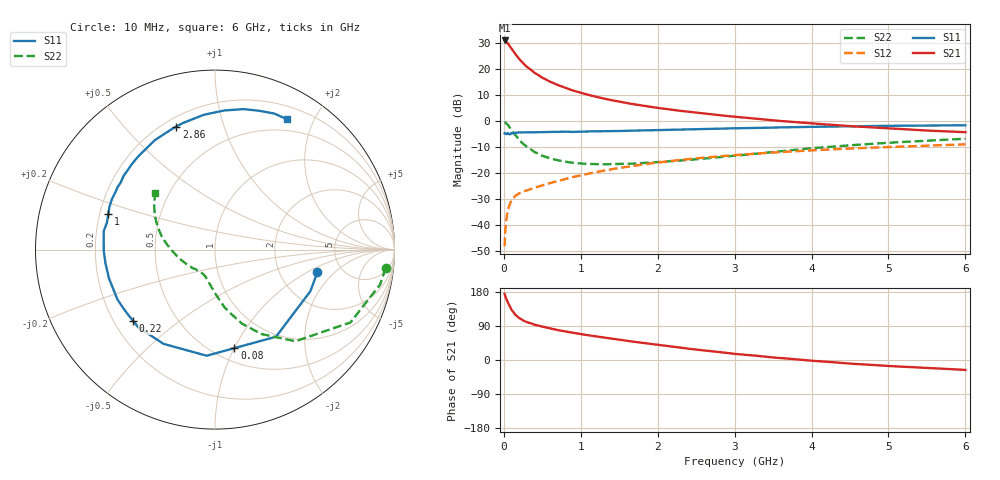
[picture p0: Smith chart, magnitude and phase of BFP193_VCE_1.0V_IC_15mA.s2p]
! Infineon Technologies  Discrete & RF Semiconductors
! BFP193
! VCE = 1.0 V,  IC =  15 mA
! Common Emitter S-Parameters:  Jan 2016
# GHz  S  MA  R  50
!  f  S11  S21  S12  S22
! GHz  MAG  ANG  MAG  ANG  MAG  ANG  MAG  ANG
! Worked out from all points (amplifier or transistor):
!   210 points, 10 MHz to 6 GHz, reference 50 ohm
!   highest |S21| = 30.9 dB at 10 MHz (marker M1)
!   |S21| within 3 dB of that: start of sweep to 97.24 MHz
!   unconditionally stable (mu >= 1): 813.3 MHz to 3.968 GHz
!   at 185 MHz: K = 0.43, MSG = 26.2 dB, |S12| = -28.0 dB
!   at 1.52 GHz: K = 1.10, MAG = 10.7 dB, |S12| = -17.9 dB
!   at 6 GHz: K = 0.96, MSG = 2.3 dB, |S12| = -8.9 dB
!   S11 on the Smith chart (normalised r, x): 10 MHz: 3.29, -1.26; 80 MHz: 0.63, -1.00; 220 MHz: 0.28, -0.35; 1 GHz: 0.24, +0.15; 2.86 GHz: 0.25, +0.70; 6 GHz: 0.35, +1.64
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0.01  0.5845 -12.4  35.16 174.5  0.004 85.5  0.9564 -6.2
0.02  0.5798 -23.6  33.93 167.5  0.0083 80.5  0.9401 -12.0
0.05  0.5926 -55.0  31.11 151.7  0.0192 68.4  0.8567 -28.3
0.08  0.5595 -78.9  26.82 141.0  0.026 58.9  0.7387 -39.4
0.1  0.5932 -94.5  24.62 132.0  0.0308 54.9  0.6797 -48.7
0.15  0.5984 -118.7  19.21 119.0  0.037 46.9  0.5378 -61.1
0.2  0.6085 -134.7  15.56 110.5  0.0413 44.3  0.4396 -69.9
0.22  0.6049 -139.0  14.45 108.3  0.0426 44.0  0.41 -72.2
0.26  0.6062 -147.1  12.46 103.5  0.0451 43.7  0.3578 -77.1
0.3  0.6104 -153.0  10.95 99.9  0.047 43.7  0.3217 -81.0
0.4  0.6121 -164.8  8.432 93.1  0.0527 45.1  0.2554 -88.3
0.5  0.6149 -172.9  6.797 87.8  0.0584 47.1  0.2165 -94.0
0.7  0.6228 175.0  4.926 78.7  0.0708 49.8  0.1774 -102.9
1  0.6259 161.7  3.484 68.4  0.0911 52.0  0.1534 -113.3
1.02  0.6274 160.9  3.423 67.8  0.0925 52.0  0.1529 -114.0
1.4  0.6448 147.4  2.516 56.5  0.1193 51.0  0.15 -125.2
2.02  0.6733 129.1  1.775 39.7  0.1619 46.4  0.164 -143.5
2.86  0.7186 107.5  1.271 19.6  0.2145 37.6  0.2074 -167.6
3.1  0.7307 102.4  1.172 14.5  0.2278 34.8  0.2236 -173.6
4.1  0.7801 84.6  0.882 -3.3  0.28 23.6  0.3097 165.2
5.1  0.8139 71.2  0.714 -16.8  0.3223 12.8  0.3918 149.1
6  0.8291 61.1  0.613 -26.2  0.358 3.1  0.4589 136.5
